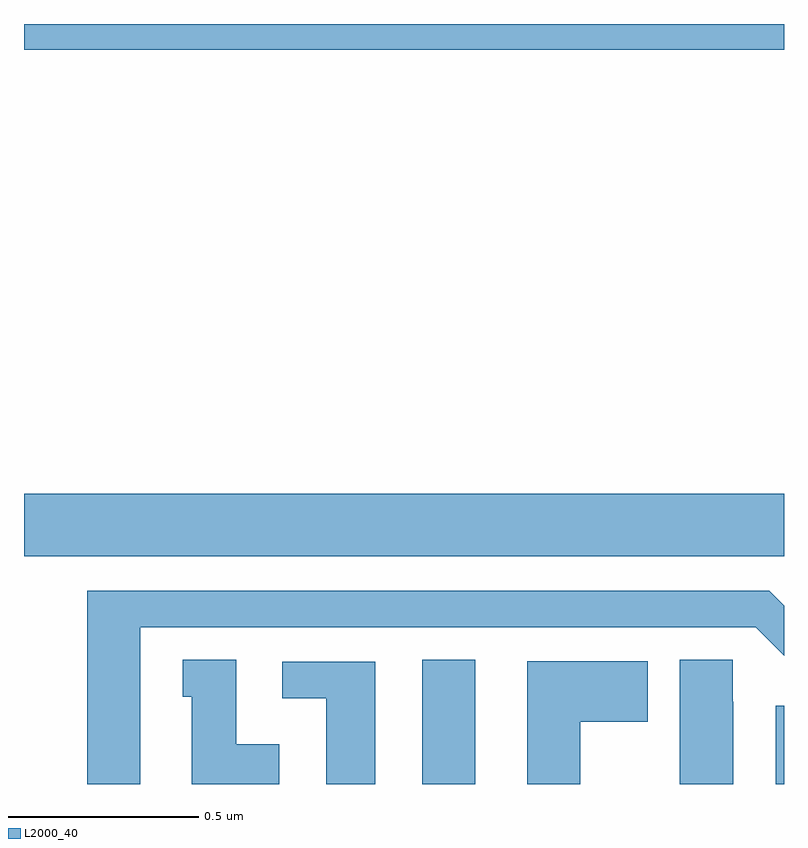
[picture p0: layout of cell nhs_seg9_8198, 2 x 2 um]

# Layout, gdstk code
import gdstk
lib = gdstk.Library(unit=1e-6, precision=1e-09)
def R(c, l, rs):  # rectangles x0, y0, x1, y1
    for r in rs: c.add(gdstk.rectangle(r[:2], r[2:], *l))
def P(c, l, *ps):  # polygons
    for p in ps: c.add(gdstk.Polygon(p, *l))
L2000_40 = (2000, 40)

nhs_seg9_8198 = lib.new_cell('nhs_seg9_8198')
R(nhs_seg9_8198, L2000_40, [(215.048,1182.5,215.188,1182.827), (215.978,1182.5,216,1182.706), (214,1183.1,216,1183.264), (214,1184.432,216,1184.5)])
P(nhs_seg9_8198, L2000_40, [(214.306,1182.912),(215.925,1182.912),(216,1182.837),(216,1182.969),(215.961,1183.008),(214.166,1183.008),(214.166,1182.5),(214.306,1182.5)],
  [(214.672,1182.604),(214.558,1182.604),(214.558,1182.827),(214.418,1182.827),(214.418,1182.729),(214.442,1182.729),(214.442,1182.5),(214.672,1182.5)],
  [(215.866,1182.716),(215.865,1182.716),(215.865,1182.827),(215.726,1182.827),(215.726,1182.5),(215.866,1182.5)],
  [(215.464,1182.664),(215.641,1182.664),(215.641,1182.823),(215.324,1182.823),(215.324,1182.5),(215.464,1182.5)],
  [(214.924,1182.822),(214.68,1182.822),(214.68,1182.726),(214.796,1182.726),(214.796,1182.5),(214.924,1182.5)])

lib.write_gds('nhs_seg9_8198.gds')
